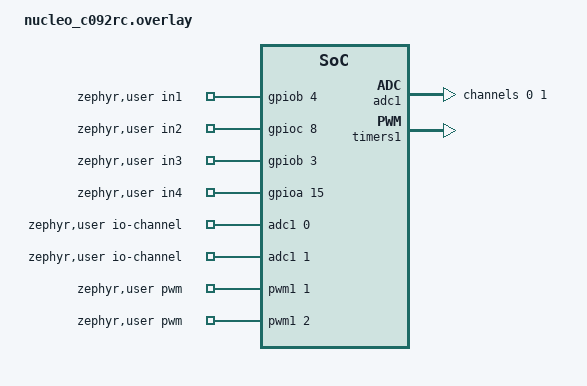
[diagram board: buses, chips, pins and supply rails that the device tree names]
/*
 * Overlay for nucleo_c092rc:
 *  A0  -> PA0  -> ADC1 channel 0  (accelerator potentiometer)
 *	A1  -> PA1  -> ADC1 channel 1  (brake potentiometer)
 *  
 *	D7  -> PA8  -> TIM1_CH1 		(PWM1)
 *  D6	-> PC8	-> B
 *	D5	-> PB4	-> A
 *	
 *	D8  -> PA9  -> TIM1_CH2        (PWM2)
 *	D9	-> PB3	-> a
 *	D10	-> PA15	-> b
 */

/ {
    zephyr,user {
        io-channels = 	<&adc1 0>, <&adc1 1>;

        pwms =
			<&pwm1 1 PWM_USEC(50) PWM_POLARITY_NORMAL>,
			<&pwm1 2 PWM_USEC(50) PWM_POLARITY_NORMAL>;

		in1-gpios = <&gpiob 4 GPIO_ACTIVE_HIGH>;
		in2-gpios = <&gpioc 8 GPIO_ACTIVE_HIGH>;
		in3-gpios = <&gpiob 3 GPIO_ACTIVE_HIGH>;
		in4-gpios = <&gpioa 15 GPIO_ACTIVE_HIGH>;
    };
};

&adc1 {
	#address-cells = <1>;
	#size-cells = <0>;
	status = "okay";

	channel@0 {
		reg = <0>;
		zephyr,gain = "ADC_GAIN_1";
		zephyr,reference = "ADC_REF_INTERNAL";
		zephyr,acquisition-time = <ADC_ACQ_TIME_DEFAULT>;
		zephyr,resolution = <12>;
	};

	channel@1 {
		reg = <1>;
		zephyr,gain = "ADC_GAIN_1";
		zephyr,reference = "ADC_REF_INTERNAL";
		zephyr,acquisition-time = <ADC_ACQ_TIME_DEFAULT>;
		zephyr,resolution = <12>;
	};
};

/*
 * TIM1:
 *   CH1 -> PA8  (D7)
 *   CH2 -> PA9  (D8)
 */
&timers1 {
	status = "okay";
	st,prescaler = <0>;

	pwm1: pwm {
		status = "okay";

		pinctrl-0 = <
			&tim1_ch1_pa8
			&tim1_ch2_pa9
		>;

		pinctrl-names = "default";
	};
};

